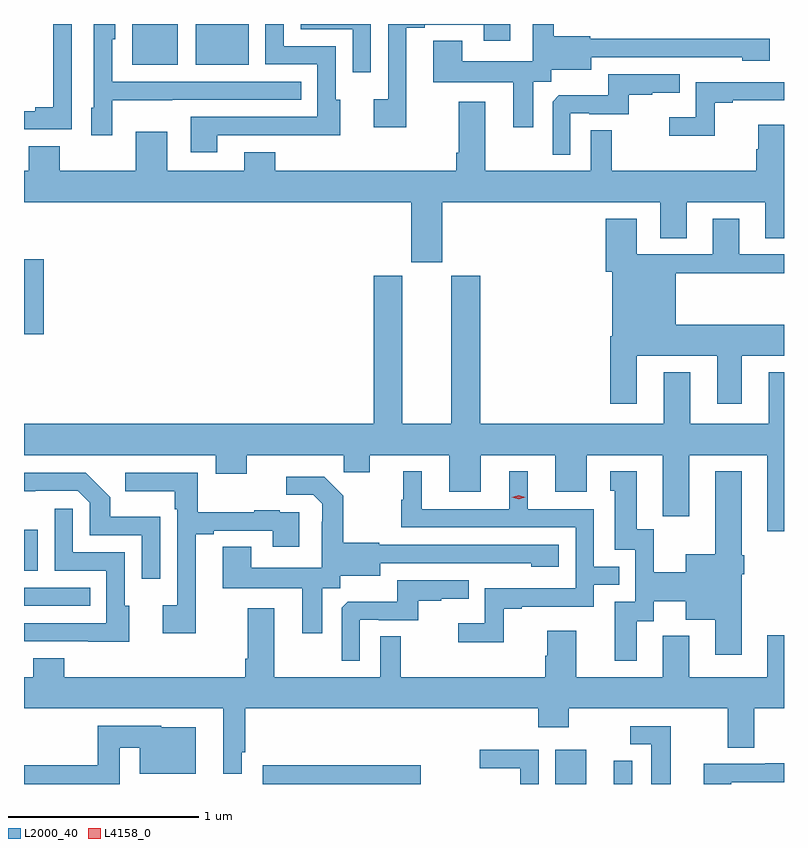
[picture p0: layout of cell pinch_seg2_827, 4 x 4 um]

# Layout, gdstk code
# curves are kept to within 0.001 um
import gdstk
lib = gdstk.Library(unit=1e-6, precision=1e-09)
def R(c, l, rs):  # rectangles x0, y0, x1, y1
    for r in rs: c.add(gdstk.rectangle(r[:2], r[2:], *l))
def P(c, l, *ps):  # polygons
    for p in ps: c.add(gdstk.Polygon(p, *l))
L2000_40 = (2000, 40)
L4158_0 = (4158, 0)

pinch_seg2_827 = lib.new_cell('pinch_seg2_827')
R(pinch_seg2_827, L2000_40, [(814.243,616.601,815.074,616.699), (815.783,616.601,815.944,616.78), (816.089,616.601,816.186,616.724), (812.986,617.538,813.335,617.634), (812.986,617.723,813.058,617.938), (812.986,618.969,813.089,619.363), (813.557,620.387,813.796,620.601), (813.89,620.387,814.168,620.601)])
P(pinch_seg2_827, L2000_40, [(813.45,620.201),(813.767,620.201),(813.767,620.202),(814.445,620.202),(814.445,620.298),(813.45,620.298),(813.45,620.52),(813.466,620.52),(813.466,620.601),(813.354,620.601),(813.354,620.16),(813.341,620.16),(813.341,620.016),(813.45,620.016)],
  [(813.237,620.601),(813.14,620.601),(813.14,620.162),(813.044,620.162),(813.044,620.142),(812.986,620.142),(812.986,620.046),(813.237,620.046)],
  [(814.003,620.016),(814.433,620.016),(814.433,620.015),(814.651,620.015),(814.651,620.202),(814.626,620.202),(814.626,620.484),(814.353,620.484),(814.353,620.601),(814.257,620.601),(814.257,620.388),(814.53,620.388),(814.53,620.112),(813.863,620.112),(813.863,619.926),(814.003,619.926)],
  [(814.812,620.601),(814.443,620.601),(814.443,620.574),(814.716,620.574),(814.716,620.346),(814.812,620.346)],
  [(814.999,620.58),(815.095,620.58),(815.095,620.598),(815.405,620.598),(815.405,620.514),(815.545,620.514),(815.545,620.601),(814.902,620.601),(814.902,620.206),(814.827,620.206),(814.827,620.058),(814.999,620.058)],
  [(815.665,620.296),(815.76,620.296),(815.76,620.36),(815.971,620.36),(815.971,620.427),(816.529,620.427),(816.529,620.426),(816.765,620.426),(816.765,620.408),(816.91,620.408),(816.91,620.523),(815.967,620.523),(815.967,620.536),(815.775,620.536),(815.775,620.601),(815.664,620.601),(815.664,620.404),(815.293,620.404),(815.293,620.513),(815.141,620.513),(815.141,620.294),(815.561,620.294),(815.561,620.058),(815.665,620.058)],
  [(815.862,620.13),(815.962,620.13),(815.962,620.127),(816.17,620.127),(816.17,620.229),(816.293,620.229),(816.293,620.24),(816.437,620.24),(816.437,620.337),(816.06,620.337),(816.06,620.225),(815.801,620.225),(815.769,620.193),(815.769,619.913),(815.862,619.913)],
  [(816.621,620.187),(816.715,620.187),(816.715,620.199),(816.986,620.199),(816.986,620.295),(816.522,620.295),(816.522,620.11),(816.381,620.11),(816.381,620.012),(816.621,620.012)],
  [(816.079,620.042),(815.97,620.042),(815.97,619.828),(815.413,619.828),(815.413,620.191),(815.273,620.191),(815.273,619.924),(815.261,619.924),(815.261,619.828),(814.309,619.828),(814.309,619.927),(814.145,619.927),(814.145,619.828),(813.739,619.828),(813.739,620.035),(813.575,620.035),(813.575,619.828),(813.175,619.828),(813.175,619.957),(813.011,619.957),(813.011,619.828),(812.986,619.828),(812.986,619.664),(815.024,619.664),(815.024,619.347),(815.188,619.347),(815.188,619.664),(816.335,619.664),(816.335,619.474),(816.475,619.474),(816.475,619.664),(816.887,619.664),(816.887,619.474),(816.986,619.474),(816.986,620.071),(816.851,620.071),(816.851,619.941),(816.839,619.941),(816.839,619.828),(816.079,619.828)],
  [(816.211,618.854),(816.635,618.854),(816.635,618.603),(816.763,618.603),(816.763,618.854),(816.986,618.854),(816.986,619.018),(816.415,619.018),(816.415,619.288),(816.986,619.288),(816.986,619.389),(816.751,619.389),(816.751,619.576),(816.611,619.576),(816.611,619.389),(816.211,619.389),(816.211,619.576),(816.047,619.576),(816.047,619.296),(816.083,619.296),(816.083,618.958),(816.071,618.958),(816.071,618.603),(816.211,618.603)],
  [(816.986,618.769),(816.905,618.769),(816.905,618.496),(816.493,618.496),(816.493,618.769),(816.353,618.769),(816.353,618.496),(815.387,618.496),(815.387,619.275),(815.234,619.275),(815.234,618.496),(814.978,618.496),(814.978,619.275),(814.826,619.275),(814.826,618.496),(812.986,618.496),(812.986,618.332),(813.995,618.332),(813.995,618.233),(814.159,618.233),(814.159,618.332),(814.669,618.332),(814.669,618.242),(814.807,618.242),(814.807,618.332),(815.225,618.332),(815.225,618.138),(815.389,618.138),(815.389,618.332),(815.783,618.332),(815.783,618.138),(815.947,618.138),(815.947,618.332),(816.347,618.332),(816.347,618.121),(816.348,618.121),(816.348,618.009),(816.487,618.009),(816.487,618.332),(816.899,618.332),(816.899,617.931),(816.986,617.931)],
  [(816.211,617.458),(816.301,617.458),(816.301,617.564),(816.47,617.564),(816.47,617.465),(816.623,617.465),(816.623,617.28),(816.763,617.28),(816.763,617.705),(816.776,617.705),(816.776,617.805),(816.763,617.805),(816.763,618.247),(816.623,618.247),(816.623,617.809),(816.47,617.809),(816.47,617.716),(816.3,617.716),(816.3,617.943),(816.211,617.943),(816.211,618.247),(816.071,618.247),(816.071,618.144),(816.095,618.144),(816.095,617.835),(816.204,617.835),(816.204,617.559),(816.095,617.559),(816.095,617.25),(816.211,617.25)],
  [(815.511,617.523),(815.605,617.523),(815.605,617.535),(815.985,617.535),(815.985,617.649),(816.119,617.649),(816.119,617.745),(815.985,617.745),(815.985,618.048),(815.638,618.048),(815.638,618.247),(815.54,618.247),(815.54,618.048),(815.08,618.048),(815.08,618.247),(814.982,618.247),(814.982,618.096),(814.971,618.096),(814.971,617.952),(815.889,617.952),(815.889,617.631),(815.412,617.631),(815.412,617.446),(815.271,617.446),(815.271,617.348),(815.511,617.348)],
  [(813.889,617.916),(813.985,617.916),(813.985,617.934),(814.295,617.934),(814.295,617.85),(814.435,617.85),(814.435,618.03),(814.331,618.03),(814.331,618.043),(814.199,618.043),(814.199,618.032),(813.901,618.032),(813.901,618.24),(813.519,618.24),(813.519,618.143),(813.78,618.143),(813.78,618.047),(813.792,618.047),(813.792,617.542),(813.717,617.542),(813.717,617.394),(813.889,617.394)],
  [(813.702,618.007),(813.441,618.007),(813.441,618.11),(813.31,618.24),(812.986,618.24),(812.986,618.143),(813.27,618.144),(813.333,618.081),(813.333,617.91),(813.606,617.91),(813.606,617.682),(813.702,617.682)],
  [(814.555,617.632),(814.65,617.632),(814.65,617.696),(814.861,617.696),(814.861,617.763),(815.655,617.762),(815.655,617.744),(815.8,617.744),(815.8,617.859),(814.857,617.859),(814.857,617.872),(814.665,617.872),(814.665,618.117),(814.565,618.217),(814.365,618.217),(814.365,618.123),(814.509,618.123),(814.556,618.076),(814.556,617.981),(814.554,617.981),(814.554,617.74),(814.183,617.74),(814.183,617.849),(814.031,617.849),(814.031,617.63),(814.451,617.63),(814.451,617.394),(814.555,617.394)],
  [(813.541,617.538),(813.516,617.538),(813.516,617.82),(813.243,617.82),(813.243,618.049),(813.147,618.049),(813.147,617.724),(813.42,617.724),(813.42,617.448),(812.986,617.448),(812.986,617.352),(813.323,617.352),(813.323,617.351),(813.541,617.351)],
  [(814.752,617.466),(814.852,617.466),(814.852,617.463),(815.06,617.463),(815.06,617.565),(815.183,617.565),(815.183,617.576),(815.327,617.576),(815.327,617.673),(814.95,617.673),(814.95,617.561),(814.691,617.561),(814.659,617.529),(814.659,617.249),(814.752,617.249)],
  [(814.131,616.768),(814.151,616.768),(814.151,617),(815.693,617),(815.693,616.901),(815.853,616.901),(815.853,617),(816.689,617),(816.689,616.792),(816.829,616.792),(816.829,617),(816.986,617),(816.986,617.383),(816.899,617.383),(816.899,617.164),(816.487,617.164),(816.487,617.38),(816.347,617.38),(816.347,617.164),(815.893,617.164),(815.893,617.407),(815.741,617.407),(815.741,617.277),(815.729,617.277),(815.729,617.164),(814.969,617.164),(814.969,617.378),(814.86,617.378),(814.86,617.164),(814.303,617.164),(814.303,617.527),(814.163,617.527),(814.163,617.26),(814.151,617.26),(814.151,617.164),(813.199,617.164),(813.199,617.263),(813.035,617.263),(813.035,617.164),(812.986,617.164),(812.986,617),(814.034,617),(814.034,616.656),(814.131,616.656)],
  [(813.489,616.792),(813.596,616.792),(813.596,616.655),(813.889,616.655),(813.889,616.9),(813.708,616.9),(813.708,616.908),(813.373,616.908),(813.373,616.699),(812.986,616.699),(812.986,616.601),(813.489,616.601)],
  [(816.391,616.905),(816.177,616.905),(816.177,616.809),(816.287,616.809),(816.287,616.601),(816.391,616.601)],
  [(815.694,616.782),(815.385,616.782),(815.385,616.683),(815.598,616.683),(815.598,616.601),(815.694,616.601)],
  [(816.708,616.611),(816.986,616.611),(816.986,616.711),(816.887,616.711),(816.887,616.707),(816.563,616.707),(816.563,616.601),(816.708,616.601)])
P(pinch_seg2_827, L4158_0, [(815.589,618.101),(815.553,618.111),(815.553,618.111),(815.553,618.111),(815.589,618.121),(815.625,618.111),(815.625,618.111),(815.625,618.111)])

lib.write_gds('pinch_seg2_827.gds')
